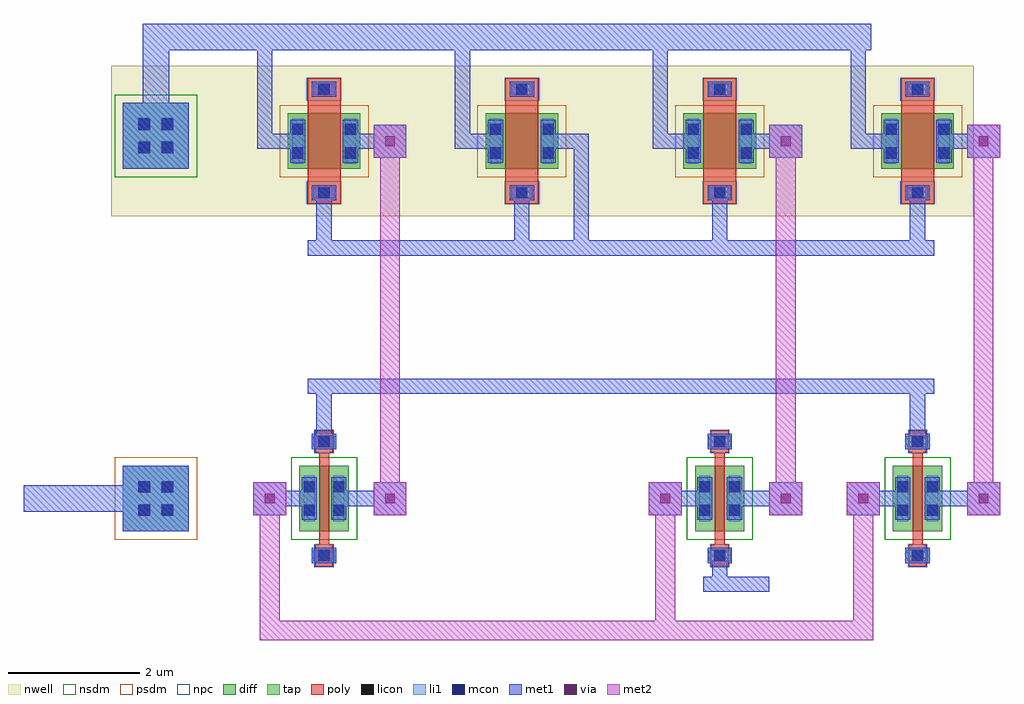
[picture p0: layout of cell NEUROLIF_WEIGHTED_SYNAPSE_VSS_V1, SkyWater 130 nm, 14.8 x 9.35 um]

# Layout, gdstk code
import gdstk
lib = gdstk.Library(unit=1e-6, precision=1e-09)
def R(c, l, rs):  # rectangles x0, y0, x1, y1
    for r in rs: c.add(gdstk.rectangle(r[:2], r[2:], *l))
def A(c, l, x, y, w, h, nx, ny, dx, dy):  # array of equal rectangles
    R(c, l, [(x+i*dx, y+j*dy, x+i*dx+w, y+j*dy+h) for i in range(nx) for j in range(ny)])
nwell = (64, 20)
diff = (65, 20)
tap = (65, 44)
poly = (66, 20)
licon = (66, 44)
li1 = (67, 20)
mcon = (67, 44)
met1 = (68, 20)
via = (68, 44)
met2 = (69, 20)
nsdm = (93, 44)
psdm = (94, 20)
npc = (95, 20)

n_tap_vdd_w1000_h1000 = lib.new_cell('N_TAP_VDD_W1000_H1000')
R(n_tap_vdd_w1000_h1000, nwell, [(-0.18,-0.18,1.18,1.18)])
R(n_tap_vdd_w1000_h1000, tap, [(0,0,1,1)])
R(n_tap_vdd_w1000_h1000, licon, [(0.245,0.245,0.415,0.415), (0.585,0.245,0.755,0.415), (0.245,0.585,0.415,0.755), (0.585,0.585,0.755,0.755)])
R(n_tap_vdd_w1000_h1000, li1, [(0,0,1,1)])
R(n_tap_vdd_w1000_h1000, mcon, [(0.235,0.235,0.405,0.405), (0.595,0.235,0.765,0.405), (0.235,0.595,0.405,0.765), (0.595,0.595,0.765,0.765)])
R(n_tap_vdd_w1000_h1000, met1, [(0,0,1,1)])
R(n_tap_vdd_w1000_h1000, nsdm, [(-0.125,-0.125,1.125,1.125)])

p_syn_w0840_l0500 = lib.new_cell('P_SYN_W0840_L0500')
R(p_syn_w0840_l0500, nwell, [(-0.305,-0.72,1.405,1.56)])
R(p_syn_w0840_l0500, diff, [(0,0,1.1,0.84)])
R(p_syn_w0840_l0500, poly, [(0.3,-0.53,0.8,-0.2), (0.3,-0.2,0.8,1.04), (0.3,1.04,0.8,1.37)])
R(p_syn_w0840_l0500, licon, [(0.465,-0.45,0.635,-0.28), (0.065,0.155,0.235,0.325), (0.865,0.155,1.035,0.325), (0.065,0.515,0.235,0.685), (0.865,0.515,1.035,0.685), (0.465,1.12,0.635,1.29)])
R(p_syn_w0840_l0500, li1, [(0.385,-0.45,0.715,-0.28), (0.065,0.075,0.235,0.765), (0.865,0.075,1.035,0.765), (0.385,1.12,0.715,1.29)])
R(p_syn_w0840_l0500, mcon, [(0.465,-0.45,0.635,-0.28), (0.065,0.155,0.235,0.325), (0.865,0.155,1.035,0.325), (0.065,0.515,0.235,0.685), (0.865,0.515,1.035,0.685), (0.465,1.12,0.635,1.29)])
R(p_syn_w0840_l0500, met1, [(0.365,-0.48,0.735,-0.25), (0.035,0.095,0.265,0.745), (0.835,0.095,1.065,0.745), (0.365,1.09,0.735,1.32)])
R(p_syn_w0840_l0500, psdm, [(-0.125,-0.125,1.225,0.965)])
R(p_syn_w0840_l0500, npc, [(0.29,-0.54,0.81,-0.19), (0.29,1.03,0.81,1.38)])

p_tap_vss_w1000_h1000 = lib.new_cell('P_TAP_VSS_W1000_H1000')
R(p_tap_vss_w1000_h1000, tap, [(0,0,1,1)])
R(p_tap_vss_w1000_h1000, licon, [(0.245,0.245,0.415,0.415), (0.585,0.245,0.755,0.415), (0.245,0.585,0.415,0.755), (0.585,0.585,0.755,0.755)])
R(p_tap_vss_w1000_h1000, li1, [(0,0,1,1)])
R(p_tap_vss_w1000_h1000, mcon, [(0.235,0.235,0.405,0.405), (0.595,0.235,0.765,0.405), (0.235,0.595,0.405,0.765), (0.595,0.595,0.765,0.765)])
R(p_tap_vss_w1000_h1000, met1, [(0,0,1,1)])
R(p_tap_vss_w1000_h1000, psdm, [(-0.125,-0.125,1.125,1.125)])

n_logic_w1000_l0150 = lib.new_cell('N_LOGIC_W1000_L0150')
R(n_logic_w1000_l0150, diff, [(0,0,0.75,1)])
R(n_logic_w1000_l0150, poly, [(0.24,-0.53,0.51,-0.2), (0.3,-0.2,0.45,1.2), (0.24,1.2,0.51,1.53)])
R(n_logic_w1000_l0150, licon, [(0.29,-0.45,0.46,-0.28), (0.065,0.235,0.235,0.405), (0.515,0.235,0.685,0.405), (0.065,0.595,0.235,0.765), (0.515,0.595,0.685,0.765), (0.29,1.28,0.46,1.45)])
R(n_logic_w1000_l0150, li1, [(0.21,-0.45,0.54,-0.28), (0.065,0.155,0.235,0.845), (0.515,0.155,0.685,0.845), (0.21,1.28,0.54,1.45)])
R(n_logic_w1000_l0150, mcon, [(0.29,-0.45,0.46,-0.28), (0.065,0.235,0.235,0.405), (0.515,0.235,0.685,0.405), (0.065,0.595,0.235,0.765), (0.515,0.595,0.685,0.765), (0.29,1.28,0.46,1.45)])
R(n_logic_w1000_l0150, met1, [(0.19,-0.48,0.56,-0.25), (0.035,0.175,0.265,0.825), (0.485,0.175,0.715,0.825), (0.19,1.25,0.56,1.48)])
R(n_logic_w1000_l0150, nsdm, [(-0.125,-0.125,0.875,1.125)])
R(n_logic_w1000_l0150, npc, [(0.23,-0.54,0.52,-0.19), (0.23,1.19,0.52,1.54)])

neurolif_weighted_synaps = lib.new_cell('NEUROLIF_WEIGHTED_SYNAPSE_PLACEMENT_V1')
R(neurolif_weighted_synaps, nwell, [(-2.68,7.28,10.405,9.56)])
neurolif_weighted_synaps.add(gdstk.Reference(n_tap_vdd_w1000_h1000, (-2.5,8)))
neurolif_weighted_synaps.add(gdstk.Reference(p_syn_w0840_l0500, (0,8)))
neurolif_weighted_synaps.add(gdstk.Reference(p_syn_w0840_l0500, (3,8)))
neurolif_weighted_synaps.add(gdstk.Reference(p_syn_w0840_l0500, (6,8)))
neurolif_weighted_synaps.add(gdstk.Reference(p_syn_w0840_l0500, (9,8)))
neurolif_weighted_synaps.add(gdstk.Reference(p_tap_vss_w1000_h1000, (-2.5,2.5)))
neurolif_weighted_synaps.add(gdstk.Reference(n_logic_w1000_l0150, (0.175,2.5)))
neurolif_weighted_synaps.add(gdstk.Reference(n_logic_w1000_l0150, (6.175,2.5)))
neurolif_weighted_synaps.add(gdstk.Reference(n_logic_w1000_l0150, (9.175,2.5)))

c_neurolif_weighted_synaps = lib.new_cell('NEUROLIF_WEIGHTED_SYNAPSE_VDD_V1')
A(c_neurolif_weighted_synaps, met1, -0.465, 8.305, 0.73, 0.23, 4, 1, 3, 0)
A(c_neurolif_weighted_synaps, met1, -0.465, 8.305, 0.23, 1.895, 4, 1, 3, 0)
R(c_neurolif_weighted_synaps, met1, [(-2.2,8.3,-1.8,10.2), (-2.2,9.8,8.85,10.2)])
c_neurolif_weighted_synaps.add(gdstk.Reference(neurolif_weighted_synaps, (0,0)))

c_neurolif_weighted_synaps_ = lib.new_cell('NEUROLIF_WEIGHTED_SYNAPSE_VBIAS_V1')
A(c_neurolif_weighted_synaps_, met1, 0.435, 6.685, 0.23, 1.065, 4, 1, 3, 0)
R(c_neurolif_weighted_synaps_, met1, [(0.3,6.685,9.8,6.915), (4.335,6.685,4.565,8.535), (3.835,8.305,4.565,8.535)])
c_neurolif_weighted_synaps_.add(gdstk.Reference(c_neurolif_weighted_synaps, (0,0)))

neurolif_m1_m2_transitio = lib.new_cell('NEUROLIF_M1_M2_TRANSITION_W0500_H0500')
R(neurolif_m1_m2_transitio, met1, [(0,0,0.5,0.5)])
R(neurolif_m1_m2_transitio, via, [(0.175,0.175,0.325,0.325)])
R(neurolif_m1_m2_transitio, met2, [(0,0,0.5,0.5)])

c_neurolif_weighted_synaps__ = lib.new_cell('NEUROLIF_WEIGHTED_SYNAPSE_BRANCHES_V2')
R(c_neurolif_weighted_synaps__, met1, [(0.66,2.885,1.665,3.115), (6.66,2.885,7.665,3.115), (9.66,2.885,10.665,3.115), (0.835,8.305,1.665,8.535), (6.835,8.305,7.665,8.535), (9.835,8.305,10.665,8.535)])
R(c_neurolif_weighted_synaps__, met2, [(1.4,2.75,1.7,8.67), (7.4,2.75,7.7,8.67), (10.4,2.75,10.7,8.67)])
c_neurolif_weighted_synaps__.add(gdstk.Reference(c_neurolif_weighted_synaps_, (0,0)))
c_neurolif_weighted_synaps__.add(gdstk.Reference(neurolif_m1_m2_transitio, (1.3,8.17)))
c_neurolif_weighted_synaps__.add(gdstk.Reference(neurolif_m1_m2_transitio, (1.3,2.75)))
c_neurolif_weighted_synaps__.add(gdstk.Reference(neurolif_m1_m2_transitio, (7.3,8.17)))
c_neurolif_weighted_synaps__.add(gdstk.Reference(neurolif_m1_m2_transitio, (7.3,2.75)))
c_neurolif_weighted_synaps__.add(gdstk.Reference(neurolif_m1_m2_transitio, (10.3,8.17)))
c_neurolif_weighted_synaps__.add(gdstk.Reference(neurolif_m1_m2_transitio, (10.3,2.75)))

c_neurolif_weighted_synaps___ = lib.new_cell('NEUROLIF_WEIGHTED_SYNAPSE_VMEM_V1')
R(c_neurolif_weighted_synaps___, met1, [(-0.39,2.885,0.44,3.115), (5.61,2.885,6.44,3.115), (8.61,2.885,9.44,3.115)])
R(c_neurolif_weighted_synaps___, met2, [(-0.425,0.85,-0.125,3.25), (-0.425,0.85,8.875,1.15), (5.575,0.85,5.875,3.25), (8.575,0.85,8.875,3.25)])
c_neurolif_weighted_synaps___.add(gdstk.Reference(c_neurolif_weighted_synaps__, (0,0)))
c_neurolif_weighted_synaps___.add(gdstk.Reference(neurolif_m1_m2_transitio, (-0.525,2.75)))
c_neurolif_weighted_synaps___.add(gdstk.Reference(neurolif_m1_m2_transitio, (5.475,2.75)))
c_neurolif_weighted_synaps___.add(gdstk.Reference(neurolif_m1_m2_transitio, (8.475,2.75)))

c_neurolif_weighted_synaps____ = lib.new_cell('NEUROLIF_WEIGHTED_SYNAPSE_WEIGHT_GATES_V2')
R(c_neurolif_weighted_synaps____, met1, [(6.3,1.585,7.3,1.815), (6.435,1.585,6.665,2.25), (0.435,3.75,0.665,4.815), (9.435,3.75,9.665,4.815), (0.3,4.585,9.8,4.815)])
c_neurolif_weighted_synaps____.add(gdstk.Reference(c_neurolif_weighted_synaps___, (0,0)))

c_neurolif_weighted_synaps_____ = lib.new_cell('NEUROLIF_WEIGHTED_SYNAPSE_VSS_V1')
R(c_neurolif_weighted_synaps_____, met1, [(-4,2.8,-2,3.2)])
c_neurolif_weighted_synaps_____.add(gdstk.Reference(c_neurolif_weighted_synaps____, (0,0)))

lib.write_gds('NEUROLIF_WEIGHTED_SYNAPSE_VSS_V1.gds')
